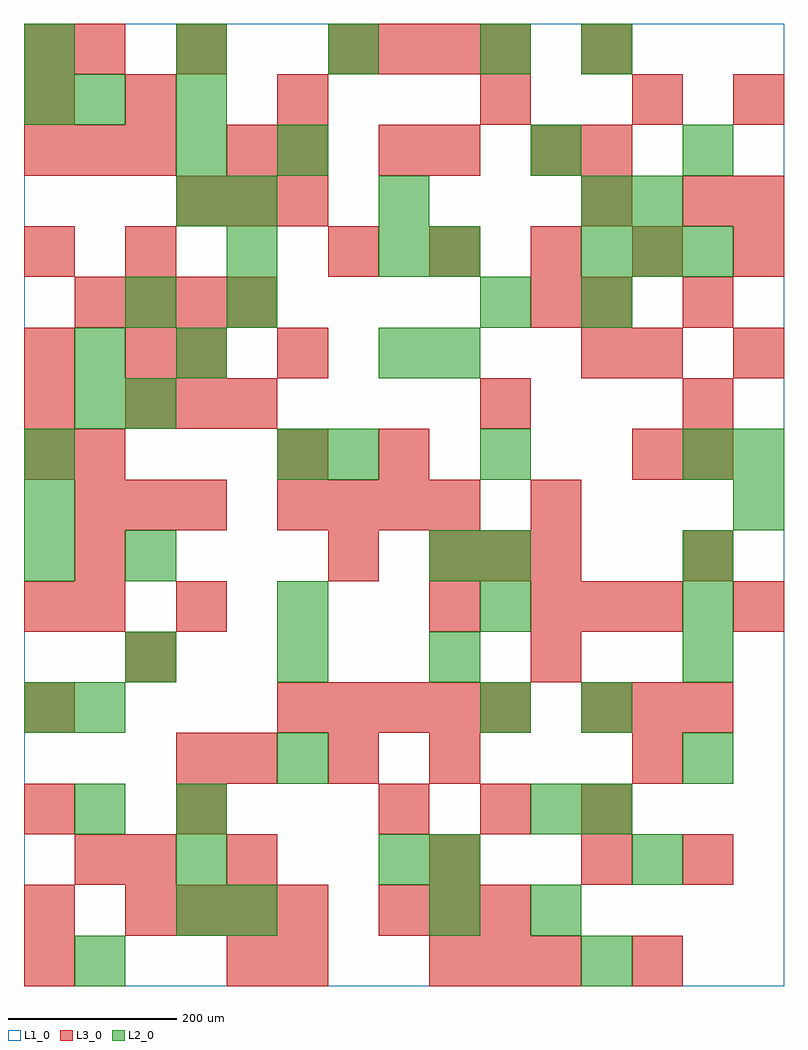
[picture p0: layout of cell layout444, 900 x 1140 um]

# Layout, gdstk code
import gdstk
lib = gdstk.Library(unit=1e-6, precision=1e-09)
def R(c, l, rs):  # rectangles x0, y0, x1, y1
    for r in rs: c.add(gdstk.rectangle(r[:2], r[2:], *l))
def A(c, l, x, y, w, h, nx, ny, dx, dy):  # array of equal rectangles
    R(c, l, [(x+i*dx, y+j*dy, x+i*dx+w, y+j*dy+h) for i in range(nx) for j in range(ny)])
L1_0 = (1, 0)
L2_0 = (2, 0)
L3_0 = (3, 0)

layout444 = lib.new_cell('layout444')
R(layout444, L1_0, [(0,0,900,1140)])
A(layout444, L2_0, 180, 60, 60, 60, 1, 3, 0, 60)
A(layout444, L2_0, 300, 240, 60, 60, 1, 3, 0, 360)
A(layout444, L2_0, 780, 240, 60, 60, 1, 4, 0, 120)
A(layout444, L2_0, 120, 360, 60, 60, 3, 1, 180, 0)
A(layout444, L2_0, 300, 420, 60, 60, 3, 1, 240, 0)
A(layout444, L2_0, 0, 480, 60, 60, 1, 3, 0, 60)
A(layout444, L2_0, 240, 780, 60, 60, 1, 3, 0, 60)
A(layout444, L2_0, 660, 840, 60, 60, 3, 1, 60, 0)
A(layout444, L2_0, 180, 900, 60, 60, 1, 3, 0, 60)
A(layout444, L2_0, 0, 1080, 60, 60, 4, 1, 180, 0)
R(layout444, L2_0, [(60,0,120,60), (660,0,720,60), (240,60,300,120), (480,60,540,120), (600,60,660,120), (420,120,480,180), (480,120,540,180), (720,120,780,180), (60,180,120,240), (600,180,660,240), (660,180,720,240), (0,300,60,360), (60,300,120,360), (540,300,600,360), (660,300,720,360), (120,480,180,540), (480,480,540,540), (540,480,600,540), (840,540,900,600), (360,600,420,660), (540,600,600,660), (840,600,900,660), (60,660,120,720), (120,660,180,720), (60,720,120,780), (180,720,240,780), (420,720,480,780), (480,720,540,780), (120,780,180,840), (540,780,600,840), (660,780,720,840), (420,840,480,900), (480,840,540,900), (420,900,480,960), (660,900,720,960), (720,900,780,960), (600,960,660,1020), (780,960,840,1020), (0,1020,60,1080), (60,1020,120,1080), (660,1080,720,1140)])
A(layout444, L3_0, 480, 0, 60, 60, 3, 2, 60, 480)
A(layout444, L3_0, 0, 60, 60, 60, 1, 4, 0, 120)
A(layout444, L3_0, 120, 60, 60, 60, 4, 1, 60, 0)
A(layout444, L3_0, 420, 60, 60, 60, 3, 1, 60, 0)
A(layout444, L3_0, 420, 180, 60, 60, 3, 1, 120, 0)
A(layout444, L3_0, 240, 240, 60, 60, 3, 1, 120, 0)
A(layout444, L3_0, 300, 300, 60, 60, 5, 1, 60, 0)
A(layout444, L3_0, 660, 300, 60, 60, 3, 1, 60, 0)
A(layout444, L3_0, 600, 420, 60, 60, 3, 1, 60, 0)
A(layout444, L3_0, 60, 540, 60, 60, 3, 1, 60, 0)
A(layout444, L3_0, 300, 540, 60, 60, 4, 1, 60, 0)
A(layout444, L3_0, 0, 600, 60, 60, 1, 3, 0, 60)
A(layout444, L3_0, 120, 660, 60, 60, 3, 1, 60, 0)
A(layout444, L3_0, 780, 660, 60, 60, 1, 3, 0, 120)
A(layout444, L3_0, 60, 780, 60, 60, 4, 1, 60, 0)
A(layout444, L3_0, 360, 840, 60, 60, 5, 1, 120, 0)
A(layout444, L3_0, 180, 900, 60, 60, 3, 1, 60, 0)
A(layout444, L3_0, 0, 960, 60, 60, 3, 1, 60, 0)
A(layout444, L3_0, 360, 1080, 60, 60, 4, 1, 60, 0)
R(layout444, L3_0, [(0,0,60,60), (240,0,300,60), (300,0,360,60), (720,0,780,60), (60,120,120,180), (120,120,180,180), (240,120,300,180), (480,120,540,180), (660,120,720,180), (780,120,840,180), (180,180,240,240), (180,240,240,300), (720,240,780,300), (120,360,180,420), (600,360,660,420), (60,420,120,480), (180,420,240,480), (480,420,540,480), (840,420,900,480), (60,480,120,540), (360,480,420,540), (780,480,840,540), (600,540,660,600), (60,600,120,660), (300,600,360,660), (420,600,480,660), (720,600,780,660), (780,600,840,660), (540,660,600,720), (120,720,180,780), (180,720,240,780), (300,720,360,780), (660,720,720,780), (720,720,780,780), (840,720,900,780), (600,780,660,840), (660,780,720,840), (0,840,60,900), (120,840,180,900), (660,900,720,960), (840,900,900,960), (240,960,300,1020), (300,960,360,1020), (420,960,480,1020), (480,960,540,1020), (600,960,660,1020), (660,960,720,1020), (0,1020,60,1080), (120,1020,180,1080), (300,1020,360,1080), (540,1020,600,1080), (720,1020,780,1080), (840,1020,900,1080), (0,1080,60,1140), (60,1080,120,1140), (180,1080,240,1140), (660,1080,720,1140)])

lib.write_gds('layout444.gds')
